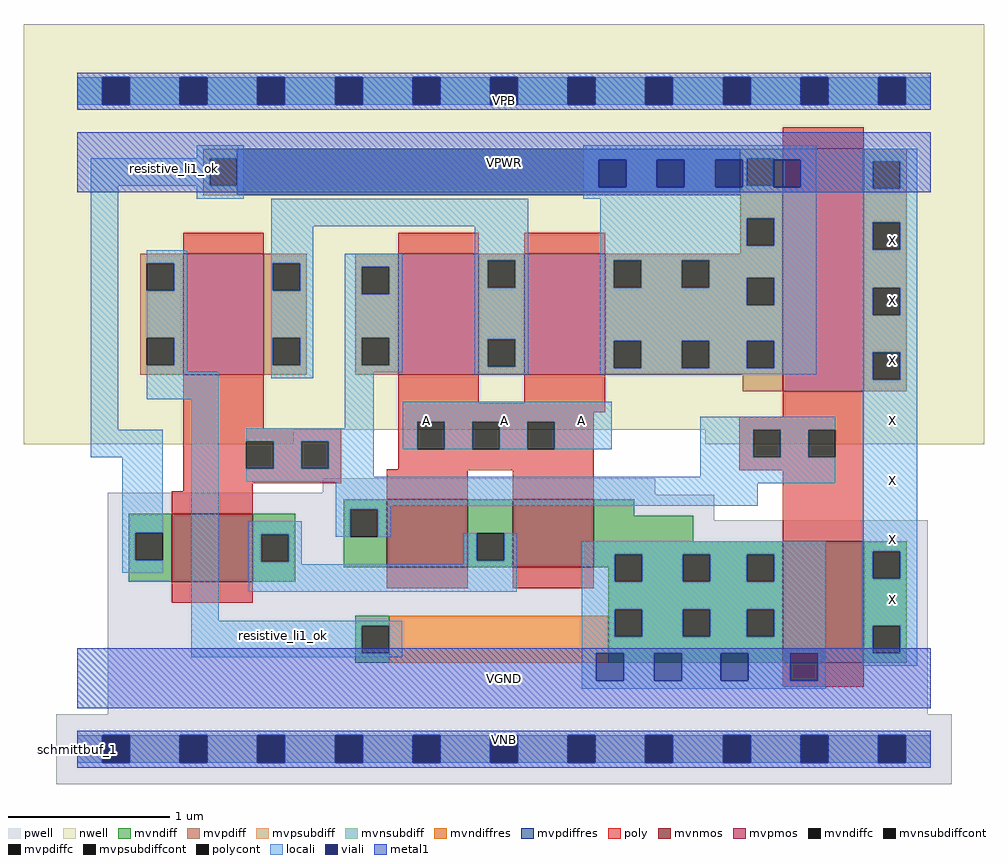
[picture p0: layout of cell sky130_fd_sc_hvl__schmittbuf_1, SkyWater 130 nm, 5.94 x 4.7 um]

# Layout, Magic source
magic
tech sky130A
magscale 1 2
<< nwell >>
rect -66 395 1122 897
rect -66 377 268 395
rect 777 377 1122 395
<< pwell >>
rect 304 317 715 335
rect 38 315 715 317
rect 38 283 788 315
rect 38 43 1052 283
rect -26 -43 1082 43
<< mvnmos >>
rect 117 207 217 291
rect 383 225 483 309
rect 539 225 639 309
rect 873 107 973 257
<< mvpmos >>
rect 131 463 231 613
rect 397 463 497 613
rect 553 463 653 613
rect 873 443 973 743
<< mvndiff >>
rect 330 297 383 309
rect 64 268 117 291
rect 64 234 72 268
rect 106 234 117 268
rect 64 207 117 234
rect 217 266 270 291
rect 217 232 228 266
rect 262 232 270 266
rect 217 207 270 232
rect 330 263 338 297
rect 372 263 383 297
rect 330 225 383 263
rect 483 267 539 309
rect 483 233 494 267
rect 528 233 539 267
rect 483 225 539 233
rect 639 289 689 309
rect 639 257 762 289
rect 639 241 873 257
rect 639 225 665 241
rect 657 207 665 225
rect 699 207 749 241
rect 783 207 828 241
rect 862 207 873 241
rect 657 173 873 207
rect 344 153 386 165
rect 344 119 352 153
rect 344 107 386 119
rect 657 139 665 173
rect 699 139 749 173
rect 783 139 828 173
rect 862 139 873 173
rect 657 107 873 139
rect 973 245 1026 257
rect 973 211 984 245
rect 1018 211 1026 245
rect 973 153 1026 211
rect 973 119 984 153
rect 1018 119 1026 153
rect 973 107 1026 119
<< mvpdiff >>
rect 156 731 198 743
rect 156 697 164 731
rect 156 685 198 697
rect 820 731 873 743
rect 820 697 828 731
rect 862 697 873 731
rect 820 657 873 697
rect 820 623 828 657
rect 862 623 873 657
rect 820 613 873 623
rect 78 601 131 613
rect 78 567 86 601
rect 120 567 131 601
rect 78 509 131 567
rect 78 475 86 509
rect 120 475 131 509
rect 78 463 131 475
rect 231 601 284 613
rect 231 567 242 601
rect 276 567 284 601
rect 231 509 284 567
rect 231 475 242 509
rect 276 475 284 509
rect 231 463 284 475
rect 344 597 397 613
rect 344 563 352 597
rect 386 563 397 597
rect 344 509 397 563
rect 344 475 352 509
rect 386 475 397 509
rect 344 463 397 475
rect 497 605 553 613
rect 497 571 508 605
rect 542 571 553 605
rect 497 507 553 571
rect 497 473 508 507
rect 542 473 553 507
rect 497 463 553 473
rect 653 605 873 613
rect 653 571 664 605
rect 698 571 748 605
rect 782 583 873 605
rect 782 571 828 583
rect 653 549 828 571
rect 862 549 873 583
rect 653 505 873 549
rect 653 471 664 505
rect 698 471 748 505
rect 782 471 828 505
rect 862 471 873 505
rect 653 463 873 471
rect 823 443 873 463
rect 973 727 1026 743
rect 973 693 984 727
rect 1018 693 1026 727
rect 973 652 1026 693
rect 973 618 984 652
rect 1018 618 1026 652
rect 973 571 1026 618
rect 973 537 984 571
rect 1018 537 1026 571
rect 973 491 1026 537
rect 973 457 984 491
rect 1018 457 1026 491
rect 973 443 1026 457
<< mvndiffc >>
rect 72 234 106 268
rect 228 232 262 266
rect 338 263 372 297
rect 494 233 528 267
rect 665 207 699 241
rect 749 207 783 241
rect 828 207 862 241
rect 352 119 386 153
rect 665 139 699 173
rect 749 139 783 173
rect 828 139 862 173
rect 984 211 1018 245
rect 984 119 1018 153
<< mvpdiffc >>
rect 164 697 198 731
rect 828 697 862 731
rect 828 623 862 657
rect 86 567 120 601
rect 86 475 120 509
rect 242 567 276 601
rect 242 475 276 509
rect 352 563 386 597
rect 352 475 386 509
rect 508 571 542 605
rect 508 473 542 507
rect 664 571 698 605
rect 748 571 782 605
rect 828 549 862 583
rect 664 471 698 505
rect 748 471 782 505
rect 828 471 862 505
rect 984 693 1018 727
rect 984 618 1018 652
rect 984 537 1018 571
rect 984 457 1018 491
<< mvpsubdiff >>
rect 0 -17 31 17
rect 65 -17 127 17
rect 161 -17 223 17
rect 257 -17 319 17
rect 353 -17 415 17
rect 449 -17 511 17
rect 545 -17 607 17
rect 641 -17 703 17
rect 737 -17 799 17
rect 833 -17 895 17
rect 929 -17 991 17
rect 1025 -17 1056 17
<< mvnsubdiff >>
rect 0 797 31 831
rect 65 797 127 831
rect 161 797 223 831
rect 257 797 319 831
rect 353 797 415 831
rect 449 797 511 831
rect 545 797 607 831
rect 641 797 703 831
rect 737 797 799 831
rect 833 797 895 831
rect 929 797 991 831
rect 1025 797 1056 831
<< mvpsubdiffcont >>
rect 31 -17 65 17
rect 127 -17 161 17
rect 223 -17 257 17
rect 319 -17 353 17
rect 415 -17 449 17
rect 511 -17 545 17
rect 607 -17 641 17
rect 703 -17 737 17
rect 799 -17 833 17
rect 895 -17 929 17
rect 991 -17 1025 17
<< mvnsubdiffcont >>
rect 31 797 65 831
rect 127 797 161 831
rect 223 797 257 831
rect 319 797 353 831
rect 415 797 449 831
rect 511 797 545 831
rect 607 797 641 831
rect 703 797 737 831
rect 799 797 833 831
rect 895 797 929 831
rect 991 797 1025 831
<< poly >>
rect 873 743 973 769
rect 131 613 231 639
rect 397 613 497 639
rect 553 613 653 639
rect 131 397 231 463
rect 397 428 497 463
rect 553 428 653 463
rect 397 417 653 428
rect 397 405 639 417
rect 873 411 973 443
rect 131 381 327 397
rect 131 347 209 381
rect 243 347 277 381
rect 311 347 327 381
rect 131 329 327 347
rect 397 371 421 405
rect 455 371 489 405
rect 523 371 557 405
rect 591 371 639 405
rect 397 346 639 371
rect 383 345 639 346
rect 819 395 973 411
rect 819 361 836 395
rect 870 361 904 395
rect 938 361 973 395
rect 819 345 973 361
rect 131 319 217 329
rect 117 291 217 319
rect 383 309 483 345
rect 539 309 639 345
rect 873 257 973 345
rect 117 181 217 207
rect 383 199 483 225
rect 539 199 639 225
rect 873 77 973 107
<< polycont >>
rect 209 347 243 381
rect 277 347 311 381
rect 421 371 455 405
rect 489 371 523 405
rect 557 371 591 405
rect 836 361 870 395
rect 904 361 938 395
<< mvndiffres >>
rect 386 107 657 165
<< mvpdiffres >>
rect 198 685 820 743
<< locali >>
rect 0 797 31 831
rect 65 797 127 831
rect 161 797 223 831
rect 257 797 319 831
rect 353 797 415 831
rect 449 797 511 831
rect 545 797 607 831
rect 641 797 703 831
rect 737 797 799 831
rect 833 797 895 831
rect 929 797 991 831
rect 1025 797 1056 831
rect 148 731 206 747
rect 17 697 164 731
rect 198 697 206 731
rect 17 395 51 697
rect 148 681 206 697
rect 626 731 914 747
rect 626 729 828 731
rect 862 729 914 731
rect 626 695 645 729
rect 679 695 717 729
rect 751 695 789 729
rect 823 697 828 729
rect 823 695 861 697
rect 895 695 914 729
rect 626 681 914 695
rect 240 647 558 681
rect 86 601 136 617
rect 120 567 136 601
rect 86 509 136 567
rect 120 475 136 509
rect 86 467 136 475
rect 240 601 292 647
rect 240 567 242 601
rect 276 567 292 601
rect 240 509 292 567
rect 240 475 242 509
rect 276 475 292 509
rect 86 433 175 467
rect 240 459 292 475
rect 331 597 402 613
rect 331 563 352 597
rect 386 563 402 597
rect 331 509 402 563
rect 331 475 352 509
rect 386 475 402 509
rect 331 466 402 475
rect 492 605 558 647
rect 492 571 508 605
rect 542 571 558 605
rect 492 507 558 571
rect 492 473 508 507
rect 542 473 558 507
rect 17 361 106 395
rect 56 268 106 361
rect 56 234 72 268
rect 56 218 106 234
rect 141 159 175 433
rect 331 397 367 466
rect 492 464 558 473
rect 647 657 914 681
rect 647 623 828 657
rect 862 623 914 657
rect 647 605 914 623
rect 647 571 664 605
rect 698 571 748 605
rect 782 583 914 605
rect 782 571 828 583
rect 647 549 828 571
rect 862 549 914 583
rect 647 505 914 549
rect 647 471 664 505
rect 698 471 748 505
rect 782 471 828 505
rect 862 471 914 505
rect 647 464 914 471
rect 972 727 1039 743
rect 972 693 984 727
rect 1018 693 1039 727
rect 972 652 1039 693
rect 972 618 984 652
rect 1018 618 1039 652
rect 972 571 1039 618
rect 972 537 984 571
rect 1018 537 1039 571
rect 972 491 1039 537
rect 972 457 984 491
rect 1018 457 1039 491
rect 209 381 367 397
rect 243 347 277 381
rect 311 347 367 381
rect 403 405 661 430
rect 403 371 421 405
rect 455 371 489 405
rect 523 371 557 405
rect 591 371 661 405
rect 771 395 938 411
rect 209 337 367 347
rect 771 361 836 395
rect 870 361 904 395
rect 771 337 938 361
rect 209 331 938 337
rect 320 329 938 331
rect 320 301 842 329
rect 320 297 388 301
rect 212 266 278 282
rect 212 232 228 266
rect 262 232 278 266
rect 320 263 338 297
rect 372 263 388 297
rect 212 229 278 232
rect 478 233 494 267
rect 528 233 544 267
rect 478 229 544 233
rect 212 195 544 229
rect 624 241 926 257
rect 624 207 665 241
rect 699 207 749 241
rect 783 207 828 241
rect 862 207 926 241
rect 624 173 926 207
rect 141 153 402 159
rect 141 119 352 153
rect 386 119 402 153
rect 141 114 402 119
rect 624 139 665 173
rect 699 139 749 173
rect 783 139 828 173
rect 862 139 926 173
rect 624 119 926 139
rect 624 85 642 119
rect 676 85 714 119
rect 748 85 796 119
rect 830 85 882 119
rect 916 85 926 119
rect 972 245 1039 457
rect 972 211 984 245
rect 1018 211 1039 245
rect 972 153 1039 211
rect 972 119 984 153
rect 1018 119 1039 153
rect 972 103 1039 119
rect 624 75 926 85
rect 0 -17 31 17
rect 65 -17 127 17
rect 161 -17 223 17
rect 257 -17 319 17
rect 353 -17 415 17
rect 449 -17 511 17
rect 545 -17 607 17
rect 641 -17 703 17
rect 737 -17 799 17
rect 833 -17 895 17
rect 929 -17 991 17
rect 1025 -17 1056 17
<< viali >>
rect 31 797 65 831
rect 127 797 161 831
rect 223 797 257 831
rect 319 797 353 831
rect 415 797 449 831
rect 511 797 545 831
rect 607 797 641 831
rect 703 797 737 831
rect 799 797 833 831
rect 895 797 929 831
rect 991 797 1025 831
rect 645 695 679 729
rect 717 695 751 729
rect 789 695 823 729
rect 861 697 862 729
rect 862 697 895 729
rect 861 695 895 697
rect 642 85 676 119
rect 714 85 748 119
rect 796 85 830 119
rect 882 85 916 119
rect 31 -17 65 17
rect 127 -17 161 17
rect 223 -17 257 17
rect 319 -17 353 17
rect 415 -17 449 17
rect 511 -17 545 17
rect 607 -17 641 17
rect 703 -17 737 17
rect 799 -17 833 17
rect 895 -17 929 17
rect 991 -17 1025 17
<< metal1 >>
rect 0 831 1056 837
rect 0 797 31 831
rect 65 797 127 831
rect 161 797 223 831
rect 257 797 319 831
rect 353 797 415 831
rect 449 797 511 831
rect 545 797 607 831
rect 641 797 703 831
rect 737 797 799 831
rect 833 797 895 831
rect 929 797 991 831
rect 1025 797 1056 831
rect 0 791 1056 797
rect 0 729 1056 763
rect 0 695 645 729
rect 679 695 717 729
rect 751 695 789 729
rect 823 695 861 729
rect 895 695 1056 729
rect 0 689 1056 695
rect 0 119 1056 125
rect 0 85 642 119
rect 676 85 714 119
rect 748 85 796 119
rect 830 85 882 119
rect 916 85 1056 119
rect 0 51 1056 85
rect 0 17 1056 23
rect 0 -17 31 17
rect 65 -17 127 17
rect 161 -17 223 17
rect 257 -17 319 17
rect 353 -17 415 17
rect 449 -17 511 17
rect 545 -17 607 17
rect 641 -17 703 17
rect 737 -17 799 17
rect 833 -17 895 17
rect 929 -17 991 17
rect 1025 -17 1056 17
rect 0 -23 1056 -17
<< labels >>
rlabel comment s 0 0 0 0 4 schmittbuf_1
flabel comment s 121 718 121 718 0 FreeSans 200 0 0 0 resistive_li1_ok
flabel comment s 255 141 255 141 0 FreeSans 200 0 0 0 resistive_li1_ok
flabel locali s 991 168 1025 202 0 FreeSans 340 0 0 0 X
flabel locali s 991 242 1025 276 0 FreeSans 340 0 0 0 X
flabel locali s 991 316 1025 350 0 FreeSans 340 0 0 0 X
flabel locali s 991 390 1025 424 0 FreeSans 340 0 0 0 X
flabel locali s 991 464 1025 498 0 FreeSans 340 0 0 0 X
flabel locali s 991 538 1025 572 0 FreeSans 340 0 0 0 X
flabel locali s 991 612 1025 646 0 FreeSans 340 0 0 0 X
flabel locali s 607 390 641 424 0 FreeSans 340 0 0 0 A
flabel locali s 415 390 449 424 0 FreeSans 340 0 0 0 A
flabel locali s 511 390 545 424 0 FreeSans 340 0 0 0 A
flabel metal1 s 0 689 1056 763 0 FreeSans 400 0 0 0 VPWR
flabel metal1 s 0 0 1056 23 0 FreeSans 340 0 0 0 VNB
flabel metal1 s 0 791 1056 814 0 FreeSans 340 0 0 0 VPB
flabel metal1 s 528 802 528 802 0 FreeSans 340 0 0 0 VPB
flabel metal1 s 0 51 1056 125 0 FreeSans 340 0 0 0 VGND
flabel metal1 s 528 11 528 11 0 FreeSans 340 0 0 0 VNB
<< properties >>
string FIXED_BBOX 0 0 1056 814
<< end >>
